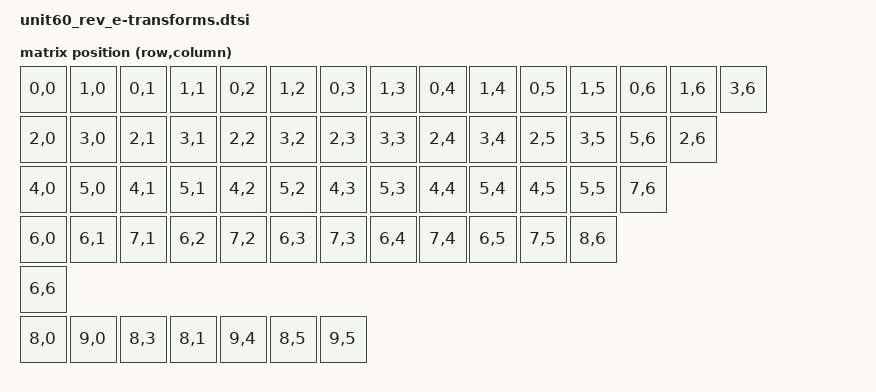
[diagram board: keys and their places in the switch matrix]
/*
 * Copyright (c) 2025 Eason
 *
 * SPDX-License-Identifier: MIT
 *
 * Matrix transform for unit60 rev_e (62-key 65% layout)
 * Diode direction: col2row (unchanged)
 *
 * Columns: COL0=P1.10 COL1=P0.03 COL2=P0.04 COL3=P0.28
 *          COL4=P1.06 COL5=P0.10 COL6=P1.02
 * Rows:    ROW0=P0.02 ROW1=P0.29 ROW2=P0.31 ROW3=P1.00
 *          ROW4=P0.26 ROW5=P0.22 ROW6=P0.08 ROW7=P0.09
 *          ROW8=P1.04 ROW9=P1.11
 */

#include <dt-bindings/zmk/matrix_transform.h>

/ {
    default_transform: transforms {
        compatible = "zmk,matrix-transform";
        columns = <7>;
        rows = <10>;

        map = <
            /* Row 1: 15 keys (Esc, 1-0, -, =, BkSp, Del) */
            RC(0,0) RC(1,0) RC(0,1) RC(1,1) RC(0,2) RC(1,2) RC(0,3) RC(1,3) RC(0,4) RC(1,4) RC(0,5) RC(1,5) RC(0,6) RC(1,6) RC(3,6)

            /* Row 2: 14 keys (Tab, Q-P, [, ], \) */
            RC(2,0) RC(3,0) RC(2,1) RC(3,1) RC(2,2) RC(3,2) RC(2,3) RC(3,3) RC(2,4) RC(3,4) RC(2,5) RC(3,5) RC(5,6) RC(2,6)

            /* Row 3: 13 keys (Caps, A-L, ;, ', Enter) */
            RC(4,0) RC(5,0) RC(4,1) RC(5,1) RC(4,2) RC(5,2) RC(4,3) RC(5,3) RC(4,4) RC(5,4) RC(4,5) RC(5,5) RC(7,6)

            /* Row 4: 12 keys (Shift, Z-M, ,, ., /, Shift) */
            RC(6,0) RC(6,1) RC(7,1) RC(6,2) RC(7,2) RC(6,3) RC(7,3) RC(6,4) RC(7,4) RC(6,5) RC(7,5) RC(8,6)

            /* Row 5: 1 key (Up arrow) */
            RC(6,6)

            /* Row 6: 7 keys (Ctrl, Alt, Space, FN, Left, Down, Right) */
            RC(8,0) RC(9,0) RC(8,3) RC(8,1) RC(9,4) RC(8,5) RC(9,5)
        >;
    };
};
